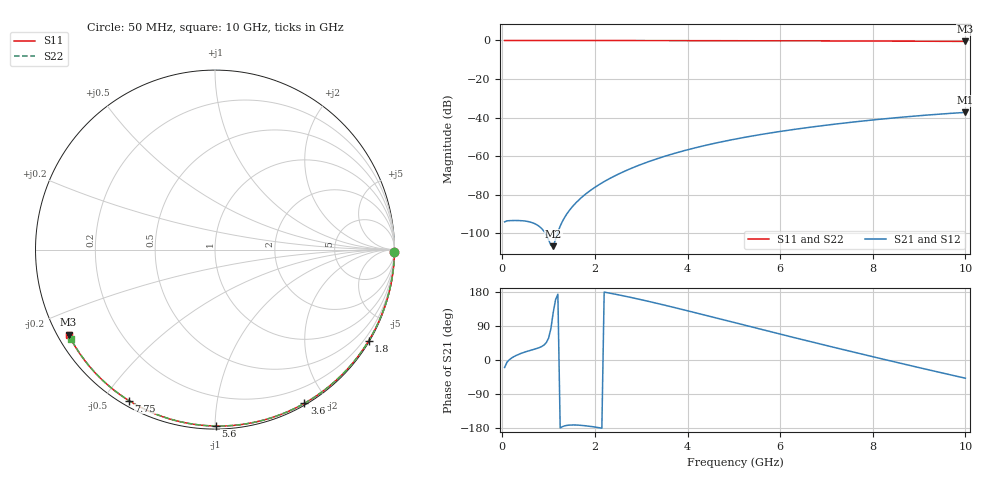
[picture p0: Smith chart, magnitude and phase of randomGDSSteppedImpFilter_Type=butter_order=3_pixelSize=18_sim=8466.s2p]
! freq	dB(S11)	phase(S11)	dB(S12)	phase(S12)
!  dB(S21)	phase(S21)	dB(S22)	phase(S22)
!S-par simulation data
#  GHz  S  DB  R 50
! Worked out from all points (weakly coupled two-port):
!   200 points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, 50 MHz to 10 GHz, reference 50 ohm
!   highest |S21| = -37.30 dB at 10 GHz (marker M1); lowest = -106.6 dB at 1.1 GHz (marker M2)
!   lowest |S11| = -0.5 dB at 10 GHz (marker M3), VSWR 34.47, Z = 1.56 - j13.4 ohm
!   |S11| at or under -10 dB: nowhere
!   |S22| runs from -0.5 to 0.0 dB; largest |S21 - S12| = 0
!   S11 on the Smith chart (normalised r, x): 50 MHz: open; 1.8 GHz: 0.03, -3.65; 3.6 GHz: 0.02, -1.74; 5.6 GHz: 0.02, -1.00; 7.75 GHz: 0.02, -0.58; 10 GHz: 0.03, -0.27
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0.05  -0.00 -0.9  -94.05 -19.6  -94.05 -19.6  -0.00 -0.9
0.55  -0.01 -9.5  -93.84 23.4  -93.84 23.4  -0.01 -9.4
1.1  -0.02 -18.9  -106.64 125.6  -106.64 125.6  -0.02 -18.8
1.75  -0.04 -29.8  -80.60 -173.0  -80.60 -173.0  -0.04 -29.6
1.8  -0.04 -30.7  -79.61 -173.6  -79.61 -173.6  -0.04 -30.5
1.95  -0.04 -33.2  -76.94 -176.0  -76.94 -176.0  -0.04 -33.0
2.1  -0.05 -35.6  -74.59 -178.8  -74.59 -178.8  -0.05 -35.4
2.3  -0.05 -38.9  -71.82 176.9  -71.82 176.9  -0.05 -38.7
2.5  -0.05 -42.2  -69.37 172.2  -69.37 172.2  -0.05 -41.9
2.9  -0.06 -48.7  -65.16 161.8  -65.16 161.8  -0.06 -48.4
3.4  -0.08 -56.7  -60.86 147.8  -60.86 147.8  -0.08 -56.3
3.6  -0.08 -59.8  -59.36 141.9  -59.36 141.9  -0.08 -59.4
4.3  -0.10 -70.6  -54.87 120.8  -54.87 120.8  -0.10 -70.1
5.05  -0.13 -81.8  -51.03 97.6  -51.03 97.6  -0.13 -81.2
5.6  -0.15 -89.8  -48.69 80.6  -48.69 80.6  -0.15 -89.2
6.15  -0.17 -97.6  -46.64 63.8  -46.64 63.8  -0.17 -96.9
6.7  -0.21 -105.3  -44.82 47.1  -44.82 47.1  -0.20 -104.5
7.2  -0.24 -112.2  -43.33 32.2  -43.33 32.2  -0.24 -111.3
7.75  -0.28 -119.6  -41.84 16.0  -41.84 16.0  -0.28 -118.7
8.35  -0.33 -127.7  -40.39 -1.5  -40.39 -1.5  -0.33 -126.6
9.2  -0.41 -139.1  -38.63 -25.8  -38.63 -25.8  -0.41 -137.7
10  -0.50 -149.9  -37.30 -48.0  -37.30 -48.0  -0.50 -148.2
